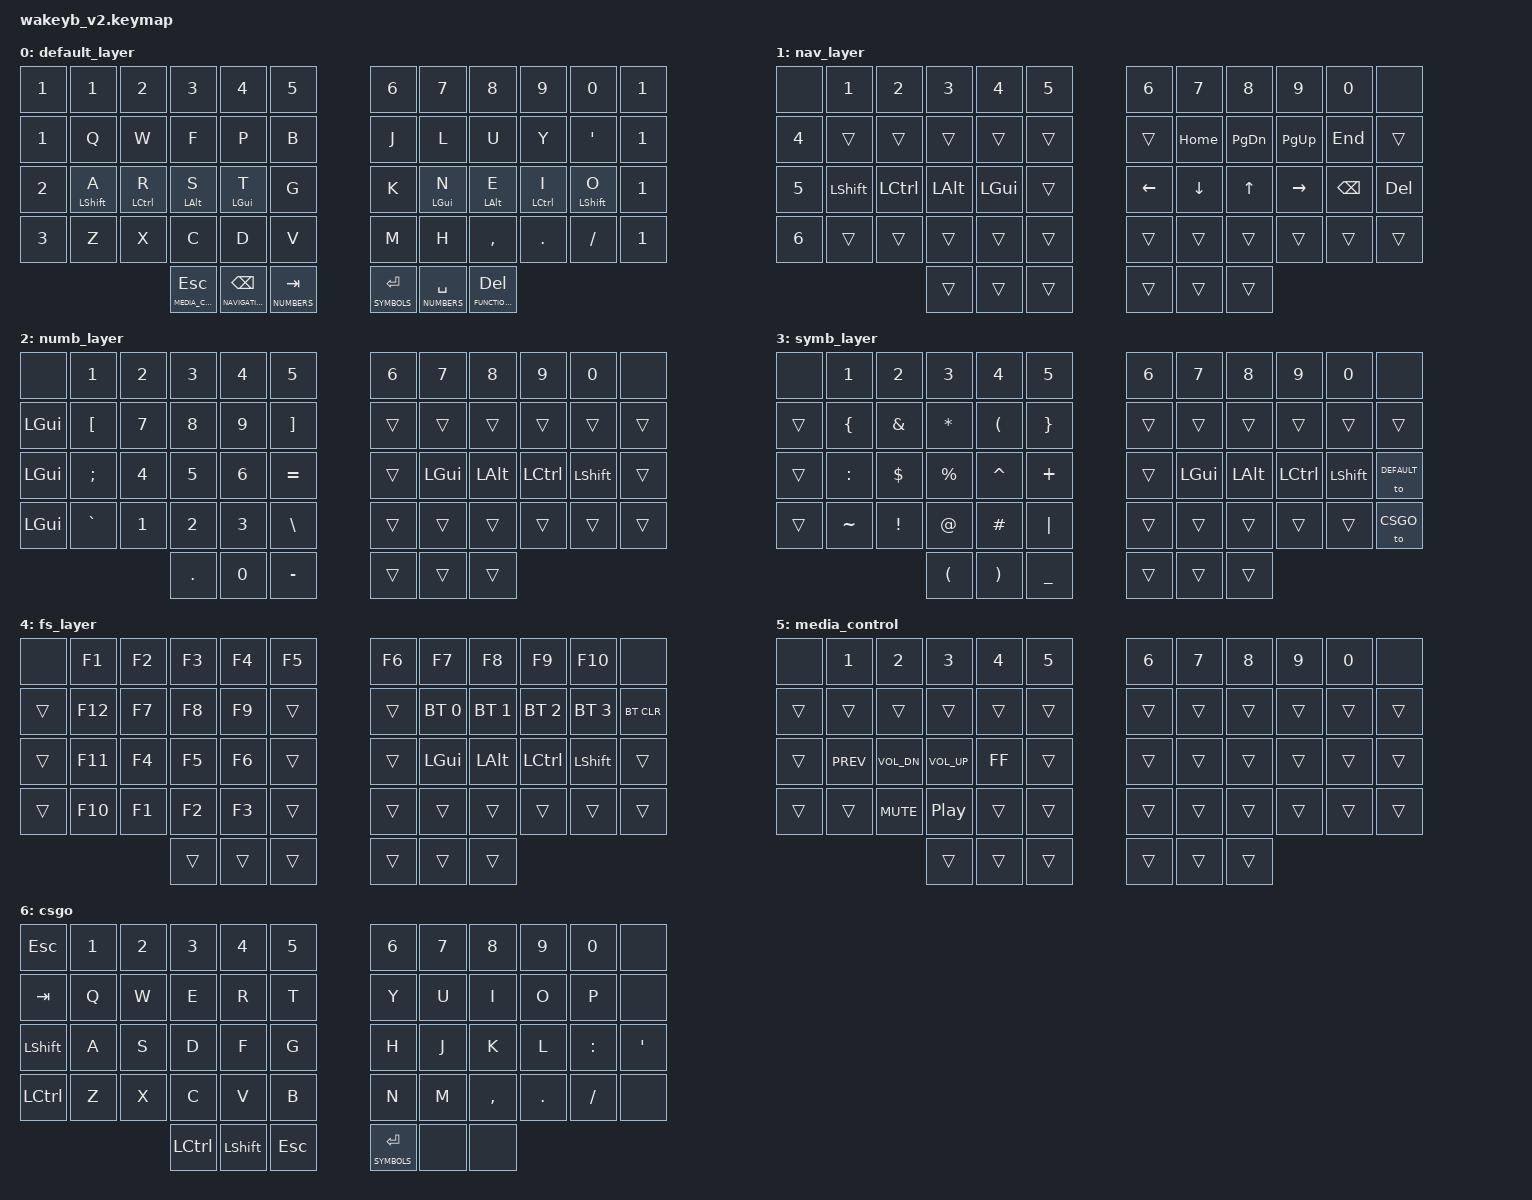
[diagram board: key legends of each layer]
/*
 * Copyright (c) 2020 The ZMK Contributors
 *
 * SPDX-License-Identifier: MIT
*/

#include <behaviors.dtsi>
#include <dt-bindings/zmk/keys.h>
#include <dt-bindings/zmk/bt.h>

#define DEFAULT         0
#define NAVIGATION      1
#define NUMBERS         2
#define SYMBOLS         3
#define FUNCTION_KEYS   4
#define MEDIA_CONTROL   5
#define CSGO            6

/ {
        behavior {
            gqt: global-quick-tap {
                compatible = "zmk,behavior-hold-tap";
                label = "GLOBAL_QUICK_TAP";
                #binding-cells = <2>;
                flavor = "tap-preferred";
                tapping-term-ms = <150>;
                quick-tap-ms = <10>;
                global-quick-tap;
                bindings = <&kp>, <&kp>;
            };
        };
        keymap {
                compatible = "zmk,keymap";

                default_layer {
                        bindings = <
&kp N1    &kp N1          &kp N2          &kp N3                  &kp N4                  &kp N5          /**/  &kp N6           &kp N7             &kp N8                 &kp N9        &kp N0           &kp N1
&kp N1    &kp Q           &kp W           &kp F                   &kp P                   &kp B           /**/  &kp J            &kp L              &kp U                  &kp Y         &kp SQT          &kp N1
&kp N2    &gqt LSHIFT A   &gqt LCTRL R    &gqt LALT S             &gqt LGUI T             &kp G           /**/  &kp K            &gqt LGUI N        &gqt LALT E            &gqt LCTRL I  &gqt LSHIFT O    &kp N1
&kp N3    &kp Z           &kp X           &kp C                   &kp D                   &kp V           /**/  &kp M            &kp H              &kp COMMA              &kp DOT       &kp FSLH         &kp N1
                                        &lt MEDIA_CONTROL ESC   &lt NAVIGATION BSPC     &lt NUMBERS TAB /**/  &lt SYMBOLS RET  &lt NUMBERS SPACE  &lt FUNCTION_KEYS DEL
                        >;

                };

                nav_layer {
                        bindings = <
&none       &kp N1          &kp N2          &kp N3      &kp N4      &kp N5  /**/    &kp N6      &kp N7      &kp N8      &kp N9      &kp N0       &none
&kp N4      &trans          &trans          &trans      &trans      &trans   /**/   &trans      &kp HOME    &kp PG_DN   &kp PG_UP   &kp END      &trans
&kp N5      &kp LSHIFT      &kp LCTRL       &kp LALT    &kp LGUI    &trans   /**/   &kp LEFT    &kp DOWN    &kp UP      &kp RIGHT   &kp BSPC     &kp DEL
&kp N6      &trans          &trans          &trans      &trans      &trans   /**/   &trans      &trans      &trans      &trans      &trans       &trans
                          	                &trans      &trans      &trans   /**/   &trans      &trans      &trans
                        >;
                };

                numb_layer {
                        bindings = <
&none       &kp N1          &kp N2      &kp N3      &kp N4      &kp N5      /**/    &kp N6      &kp N7      &kp N8      &kp N9      &kp N0      &none
&kp LGUI    &kp LBKT        &kp N7      &kp N8      &kp N9      &kp RBKT    /**/    &trans      &trans      &trans      &trans      &trans      &trans
&kp LGUI    &kp SEMI        &kp N4      &kp N5      &kp N6      &kp EQUAL   /**/    &trans      &kp LGUI    &kp LALT    &kp LCTRL   &kp LSHIFT  &trans
&kp LGUI    &kp GRAVE       &kp N1      &kp N2      &kp N3      &kp BSLH    /**/    &trans      &trans      &trans      &trans      &trans      &trans
                                        &kp DOT     &kp N0      &kp MINUS   /**/    &trans      &trans      &trans
                        >;
                  
                };
                symb_layer {
                        bindings = <
&none       &kp N1          &kp N2      &kp N3      &kp N4      &kp N5      /**/    &kp N6      &kp N7      &kp N8      &kp N9      &kp N0      &none
&trans      &kp LBRC        &kp AMPS    &kp STAR    &kp LPAR    &kp RBRC    /**/    &trans      &trans      &trans      &trans      &trans      &trans
&trans      &kp COLON       &kp DLLR    &kp PRCNT   &kp CARET   &kp PLUS    /**/    &trans      &kp LGUI    &kp LALT    &kp LCTRL   &kp LSHIFT  &to DEFAULT
&trans      &kp TILDE       &kp EXCL    &kp AT      &kp POUND   &kp PIPE    /**/    &trans      &trans      &trans      &trans      &trans      &to CSGO
                                        &kp LPAR    &kp RPAR    &kp UNDER   /**/    &trans      &trans      &trans
                        >;
                  
                };

                fs_layer {
                        bindings = <
&none       &kp F1       &kp F2     &kp F3      &kp F4      &kp F5      /**/    &kp F6      &kp F7          &kp F8          &kp F9          &kp F10         &none
&trans      &kp F12      &kp F7     &kp F8      &kp F9      &trans      /**/    &trans      &bt BT_SEL 0    &bt BT_SEL 1    &bt BT_SEL 2    &bt BT_SEL 3    &bt BT_CLR
&trans      &kp F11      &kp F4     &kp F5      &kp F6      &trans      /**/    &trans      &kp LGUI        &kp LALT        &kp LCTRL       &kp LSHIFT      &trans
&trans      &kp F10      &kp F1     &kp F2      &kp F3      &trans      /**/    &trans      &trans          &trans          &trans          &trans          &trans
                                    &trans      &trans      &trans      /**/    &trans      &trans          &trans
                        >;
                };

                media_control {
                        bindings = <
&none       &kp N1          &kp N2          &kp N3              &kp N4      &kp N5      /**/    &kp N6      &kp N7      &kp N8      &kp N9      &kp N0      &none
&trans      &trans          &trans          &trans              &trans      &trans      /**/    &trans      &trans      &trans      &trans      &trans      &trans
&trans      &kp C_PREV      &kp C_VOL_DN    &kp C_VOL_UP        &kp C_FF    &trans      /**/    &trans      &trans      &trans      &trans      &trans      &trans
&trans      &trans          &kp C_MUTE      &kp C_PLAY_PAUSE    &trans      &trans      /**/    &trans      &trans      &trans      &trans      &trans      &trans
                                            &trans              &trans      &trans      /**/    &trans      &trans      &trans
                        >;
                };

                csgo {
                        bindings = <
&kp ESC         &kp N1      &kp N2      &kp N3      &kp N4      &kp N5      /**/    &kp N6              &kp N7      &kp N8      &kp N9      &kp N0      &none
&kp TAB         &kp Q       &kp W       &kp E       &kp R       &kp T       /**/    &kp Y               &kp U       &kp I       &kp O       &kp P       &none
&kp LSHIFT      &kp A       &kp S       &kp D       &kp F       &kp G       /**/    &kp H               &kp J       &kp K       &kp L       &kp COLON   &kp SQT
&kp LCTRL       &kp Z       &kp X       &kp C       &kp V       &kp B       /**/    &kp N               &kp M       &kp COMMA   &kp DOT     &kp FSLH    &none
                                        &kp LCTRL   &kp LSHIFT  &kp ESC    /**/     &lt SYMBOLS RET     &none       &none
                        >;
                };
        };
};
